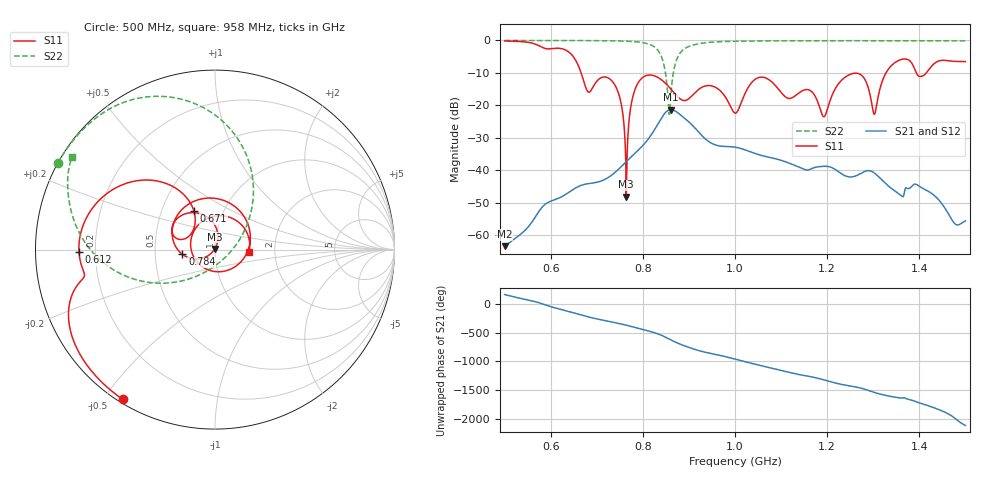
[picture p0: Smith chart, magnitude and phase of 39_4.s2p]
! TOUCHSTONE file generated by CST MICROWAVE STUDIO
! Date and time: Sat Nov 14 20:03:40 2020
! Project name: Scenario_1_Planar_Body_Tissue_Out_of_Line.cst
! Parameters = {dy1=-311.4; L_HA=400; Ltissue=700; MT=2.54; Rad_Dielectric=30; Rad_Lower=7.3; Rad_Upper=30; Wtissue=700; a_HA=580; a_WG=246; b_HA=500; b_WG=121; c_HA=0; c_WG=187; d_feed=85; dx1=693; h_feed=15; h_lower=18; h_upper=40; hfat=3; hgap=25; hmuscle=50; hskin=1.5}
! Header version: 2018
! Port assignment regex: !\s*Touchstone port\s*([0-9]+)\s*=\s*(CST MWS port|CST DS port)\s*([0-9]+|Zmin|Zmax)\s*\(\"(.*)\"\)(\s*mode\s*([0-9]+))?.*
! Touchstone port assignment:
! Touchstone port 1 = CST MWS port 1 ("")
! Touchstone port 2 = CST MWS port 2 ("")
# GHz S DB R 50
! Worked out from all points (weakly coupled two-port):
!   1003 points, 500 MHz to 1.5 GHz, reference 50 ohm
!   highest |S21| = -21.30 dB at 861 MHz (marker M1); lowest = -63.3 dB at 500 MHz (marker M2)
!   lowest |S11| = -48.1 dB at 764 MHz (marker M3), VSWR 1.01, Z = 49.8 + j0.347 ohm
!   |S11| at or under -10 dB: 666 MHz to 1.328 GHz (661.6 MHz wide, 66.4 % of centre); 1.394 GHz to 1.415 GHz (21.48 MHz wide, 1.53 % of centre)
!   |S22| runs from -22.8 to 0.0 dB; largest |S21 - S12| = 5.1e-05
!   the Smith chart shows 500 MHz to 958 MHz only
!   S11 on the Smith chart (normalised r, x): 500 MHz: 0.01, -0.56; 612 MHz: 0.14, -0.01; 671 MHz: 0.72, +0.33; 784 MHz: 0.69, -0.04; 958 MHz: 1.46, -0.05
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0.5  -0.17 -121.7  -63.34 169.5  -63.34 169.5  -0.01 151.2
0.612  -2.41 -179.0  -48.88 -69.2  -48.88 -69.1  -0.02 143.2
0.667  -10.40 118.0  -44.57 171.2  -44.57 171.2  -0.04 138.4
0.671  -12.19 118.7  -44.39 162.0  -44.39 162.0  -0.04 138.0
0.738  -13.41 111.5  -40.83 40.8  -40.83 40.8  -0.13 129.6
0.753  -19.52 83.5  -38.87 14.2  -38.87 14.2  -0.18 126.9
0.764  -48.14 117.3  -37.33 -7.1  -37.33 -7.1  -0.23 124.5
0.784  -14.73 -171.7  -34.60 -48.4  -34.60 -48.4  -0.40 119.0
0.834  -11.49 67.3  -25.40 -162.6  -25.40 -162.6  -3.29 83.5
0.861  -15.00 -7.0  -21.30 94.9  -21.30 94.9  -16.44 -117.8
0.883  -18.20 -87.7  -23.08 14.9  -23.08 14.9  -3.50 -177.4
0.958  -14.46 -4.5  -32.19 -158.7  -32.19 -158.7  -0.45 147.2
1  -22.36 -165.1  -32.85 120.4  -32.85 120.4  -0.26 140.1
1.052  -11.40 -10.3  -35.19 14.4  -35.19 14.4  -0.16 134.2
1.104  -16.65 -160.0  -37.09 -86.1  -37.09 -86.1  -0.12 129.3
1.167  -15.82 -17.2  -39.40 169.2  -39.39 169.2  -0.09 124.2
1.193  -23.52 -153.2  -38.74 116.9  -38.74 116.9  -0.09 122.1
1.267  -10.18 6.6  -41.39 -16.1  -41.39 -16.1  -0.08 116.5
1.303  -22.70 16.1  -40.88 -104.6  -40.88 -104.5  -0.09 113.9
1.334  -8.64 31.9  -44.94 -166.7  -44.94 -166.7  -0.08 111.5
1.383  -6.87 -33.8  -45.00 124.4  -45.00 124.4  -0.09 107.7
1.5  -6.51 -47.6  -55.55 39.0  -55.55 39.0  -0.13 97.9
